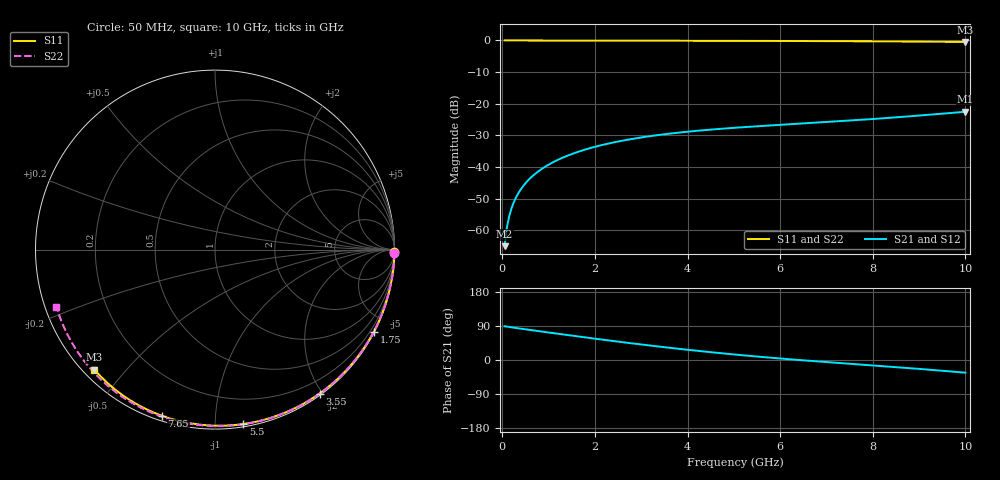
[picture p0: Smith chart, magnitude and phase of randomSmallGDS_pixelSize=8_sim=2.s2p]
! freq	dB(S11)	phase(S11)	dB(S12)	phase(S12)
!  dB(S21)	phase(S21)	dB(S22)	phase(S22)
!S-par simulation data
#  GHz  S  DB  R 50
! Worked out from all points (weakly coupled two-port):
!   200 points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, 50 MHz to 10 GHz, reference 50 ohm
!   highest |S21| = -22.54 dB at 10 GHz (marker M1); lowest = -65.0 dB at 50 MHz (marker M2)
!   lowest |S11| = -0.5 dB at 10 GHz (marker M3), VSWR 37.37, Z = 1.57 - j20.6 ohm
!   |S11| at or under -10 dB: nowhere
!   |S22| runs from -0.5 to 0.0 dB; largest |S21 - S12| = 0
!   S11 on the Smith chart (normalised r, x): 50 MHz: open; 1.75 GHz: 0.04, -4.12; 3.55 GHz: 0.02, -1.96; 5.5 GHz: 0.02, -1.18; 7.65 GHz: 0.02, -0.73; 10 GHz: 0.03, -0.41
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0.05  -0.00 -0.8  -65.02 89.0  -65.02 89.0  -0.00 -0.9
0.1  -0.00 -1.6  -59.01 88.1  -59.01 88.1  -0.00 -1.9
0.15  -0.00 -2.4  -55.50 87.1  -55.50 87.1  -0.00 -2.8
0.2  -0.00 -3.2  -53.01 86.2  -53.01 86.2  -0.00 -3.7
0.25  -0.00 -4.0  -51.09 85.3  -51.09 85.3  -0.00 -4.7
0.35  -0.00 -5.6  -48.20 83.5  -48.20 83.5  -0.00 -6.5
0.5  -0.01 -7.9  -45.14 81.0  -45.14 81.0  -0.01 -9.3
0.7  -0.01 -11.1  -42.27 77.6  -42.27 77.6  -0.01 -13.0
1  -0.02 -15.7  -39.25 72.6  -39.25 72.6  -0.02 -18.5
1.35  -0.03 -21.2  -36.76 66.8  -36.76 66.8  -0.03 -24.9
1.75  -0.04 -27.3  -34.66 60.3  -34.66 60.3  -0.04 -32.1
2.5  -0.05 -38.6  -31.94 48.5  -31.94 48.5  -0.06 -45.4
3.4  -0.07 -51.9  -29.83 35.2  -29.83 35.2  -0.08 -60.8
3.55  -0.08 -54.0  -29.56 33.1  -29.56 33.1  -0.09 -63.3
4.3  -0.10 -64.6  -28.43 23.1  -28.43 23.1  -0.11 -75.6
5.05  -0.12 -74.8  -27.57 14.1  -27.57 14.1  -0.14 -87.5
5.5  -0.14 -80.8  -27.13 9.1  -27.13 9.1  -0.16 -94.4
6.7  -0.19 -96.1  -26.07 -2.7  -26.07 -2.7  -0.22 -112.3
7.65  -0.25 -107.7  -25.19 -11.2  -25.19 -11.2  -0.29 -126.1
8.35  -0.30 -116.0  -24.47 -17.4  -24.47 -17.4  -0.36 -136.1
9.2  -0.38 -125.9  -23.50 -25.4  -23.50 -25.4  -0.45 -148.4
10  -0.47 -135.1  -22.54 -33.4  -22.54 -33.4  -0.55 -160.2
